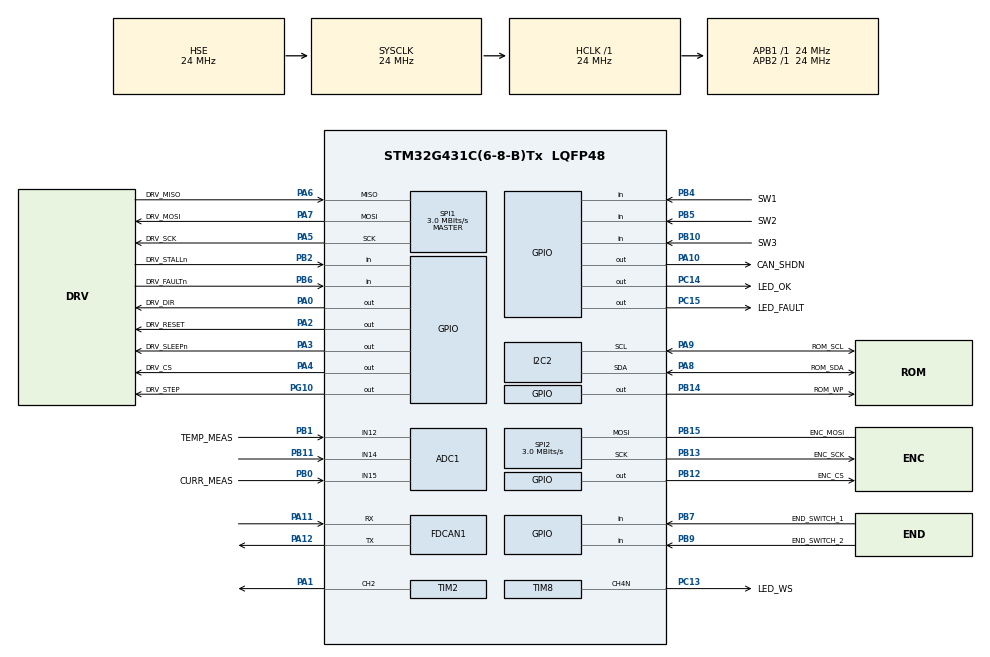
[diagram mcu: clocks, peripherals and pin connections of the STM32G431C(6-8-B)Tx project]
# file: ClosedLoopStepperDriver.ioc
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ADC1.Channel-0\#ChannelRegularConversion=ADC_CHANNEL_15
ADC1.ClockPrescaler=ADC_CLOCK_SYNC_PCLK_DIV4
ADC1.NbrOfConversionFlag=1
ADC1.OffsetNumber-0\#ChannelRegularConversion=ADC_OFFSET_NONE
ADC1.Rank-0\#ChannelRegularConversion=1
ADC1.SamplingTime-0\#ChannelRegularConversion=ADC_SAMPLETIME_2CYCLES_5
ADC1.master=1
Dma.Request0=TIM8_CH4
Dma.TIM8_CH4.0.Direction=DMA_MEMORY_TO_PERIPH
Dma.TIM8_CH4.0.EventEnable=DISABLE
Dma.TIM8_CH4.0.Instance=DMA1_Channel1
Dma.TIM8_CH4.0.MemDataAlignment=DMA_MDATAALIGN_BYTE
Dma.TIM8_CH4.0.MemInc=DMA_MINC_ENABLE
Dma.TIM8_CH4.0.Mode=DMA_NORMAL
Dma.TIM8_CH4.0.PeriphDataAlignment=DMA_PDATAALIGN_HALFWORD
Dma.TIM8_CH4.0.PeriphInc=DMA_PINC_DISABLE
Dma.TIM8_CH4.0.Polarity=HAL_DMAMUX_REQ_GEN_RISING
Dma.TIM8_CH4.0.Priority=DMA_PRIORITY_LOW
Dma.TIM8_CH4.0.RequestNumber=1
Dma.TIM8_CH4.0.SignalID=NONE
Dma.TIM8_CH4.0.SyncEnable=DISABLE
Dma.TIM8_CH4.0.SyncPolarity=HAL_DMAMUX_SYNC_NO_EVENT
Dma.TIM8_CH4.0.SyncRequestNumber=1
Dma.TIM8_CH4.0.SyncSignalID=NONE
FDCAN1.AutoRetransmission=ENABLE
FDCAN1.CalculateBaudRateNominal=500000
FDCAN1.CalculateTimeBitNominal=2000
FDCAN1.CalculateTimeQuantumNominal=41.666666666666664
FDCAN1.ClockDivider=FDCAN_CLOCK_DIV1
FDCAN1.DataSyncJumpWidth=1
FDCAN1.DataTimeSeg1=5
FDCAN1.DataTimeSeg2=4
FDCAN1.ExtFiltersNbr=1
FDCAN1.FrameFormat=FDCAN_FRAME_CLASSIC
FDCAN1.NominalPrescaler=1
FDCAN1.NominalSyncJumpWidth=12
FDCAN1.NominalTimeSeg1=35
FDCAN1.NominalTimeSeg2=12
FDCAN1.TransmitPause=ENABLE
FREERTOS.Tasks01=defaultTask,24,128,StartDefaultTask,Default,NULL,Dynamic,NULL,NULL;EncoderTask,40,128,StartEncoderTask,Default,NULL,Dynamic,NULL,NULL;StepperRegTask,16,128,StartStepperRegTask,Default,NULL,Dynamic,NULL,NULL;FeedbackTask,8,128,StartFeedbackTask,Default,NULL,Dynamic,NULL,NULL
FREERTOS.configUSE_NEWLIB_REENTRANT=1
I2C2.Timing=0x00805C87
Mcu.Family=STM32G4
Mcu.Name=STM32G431C(6-8-B)Tx
Mcu.Package=LQFP48
NVIC.DMA1_Channel1_IRQn=true\:5\:0\:false\:false\:true\:true\:false\:true\:true
NVIC.FDCAN1_IT0_IRQn=true\:5\:0\:false\:false\:true\:true\:true\:true\:true
NVIC.PriorityGroup=NVIC_PRIORITYGROUP_4
NVIC.TIM1_UP_TIM16_IRQn=true\:15\:0\:false\:false\:true\:false\:false\:true\:true
NVIC.TIM2_IRQn=true\:5\:0\:false\:false\:true\:true\:true\:true\:true
NVIC.TIM6_DAC_IRQn=true\:15\:0\:true\:false\:true\:true\:true\:true\:true
NVIC.TimeBase=TIM1_UP_TIM16_IRQn
NVIC.TimeBaseIP=TIM1
PA0.GPIO_Label=DRV_DIR
PA0.Signal=GPIO_Output
PA1.Signal=S_TIM2_CH2
PA10.GPIO_Label=CAN_SHDN
PA10.Signal=GPIO_Output
PA11.GPIO_Speed=GPIO_SPEED_FREQ_VERY_HIGH
PA11.Mode=FDCAN_Activate
PA11.Signal=FDCAN1_RX
PA12.GPIO_Speed=GPIO_SPEED_FREQ_VERY_HIGH
PA12.Mode=FDCAN_Activate
PA12.Signal=FDCAN1_TX
PA13.Mode=JTAG_4_pins
PA13.Signal=SYS_JTMS-SWDIO
PA14.Mode=JTAG_4_pins
PA14.Signal=SYS_JTCK-SWCLK
PA15.Mode=JTAG_4_pins
PA15.Signal=SYS_JTDI
PA2.GPIO_Label=DRV_RESET
PA2.Signal=GPIO_Output
PA3.GPIO_Label=DRV_SLEEPn
PA3.Signal=GPIO_Output
PA4.GPIO_Label=DRV_CS
PA4.Signal=GPIO_Output
PA5.GPIO_Label=DRV_SCK
PA5.Mode=Full_Duplex_Master
PA5.Signal=SPI1_SCK
PA6.GPIO_Label=DRV_MISO
PA6.Mode=Full_Duplex_Master
PA6.Signal=SPI1_MISO
PA7.GPIO_Label=DRV_MOSI
PA7.Mode=Full_Duplex_Master
PA7.Signal=SPI1_MOSI
PA8.GPIO_Label=ROM_SDA
PA8.GPIO_Pu=GPIO_PULLUP
PA8.Mode=I2C
PA8.Signal=I2C2_SDA
PA9.GPIO_Label=ROM_SCL
PA9.GPIO_Pu=GPIO_PULLUP
PA9.Mode=I2C
PA9.Signal=I2C2_SCL
PB0.GPIO_Label=CURR_MEAS
PB0.Mode=IN15-Single-Ended
PB0.Signal=ADC1_IN15
PB1.GPIO_Label=TEMP_MEAS
PB1.Mode=IN12-Single-Ended
PB1.Signal=ADC1_IN12
PB10.GPIO_Label=SW3
PB10.GPIO_PuPd=GPIO_PULLUP
PB10.Signal=GPIO_Input
PB11.Mode=IN14-Single-Ended
PB11.Signal=ADC1_IN14
PB12.GPIO_Label=ENC_CS
PB12.Signal=GPIO_Output
PB13.GPIO_Label=ENC_SCK
PB13.Mode=Simplex_Bidirectional_Master
PB13.Signal=SPI2_SCK
PB14.GPIO_Label=ROM_WP
PB14.GPIO_Speed=GPIO_SPEED_FREQ_MEDIUM
PB14.PinState=GPIO_PIN_SET
PB14.Signal=GPIO_Output
PB15.GPIO_Label=ENC_MOSI
PB15.Mode=Simplex_Bidirectional_Master
PB15.Signal=SPI2_MOSI
PB2.GPIO_Label=DRV_STALLn
PB2.Signal=GPIO_Input
PB3.Mode=JTAG_4_pins
PB3.Signal=SYS_JTDO-SWO
PB4.GPIO_Label=SW1
PB4.GPIO_PuPd=GPIO_PULLUP
PB4.Signal=GPIO_Input
PB5.GPIO_Label=SW2
PB5.GPIO_PuPd=GPIO_PULLUP
PB5.Signal=GPIO_Input
PB6.GPIO_Label=DRV_FAULTn
PB6.GPIO_PuPd=GPIO_NOPULL
PB6.Signal=GPIO_Input
PB7.GPIO_Label=END_SWITCH_1
PB7.GPIO_PuPd=GPIO_PULLUP
PB7.Signal=GPIO_Input
PB9.GPIO_Label=END_SWITCH_2
PB9.GPIO_PuPd=GPIO_PULLUP
PB9.Signal=GPIO_Input
PC13.GPIO_Label=LED_WS
PC13.Mode=PWM Generation4 CH4N
PC13.Signal=TIM8_CH4N
PC14-OSC32_IN.GPIO_Label=LED_OK
PC14-OSC32_IN.GPIO_ModeDefaultOutputPP=GPIO_MODE_OUTPUT_PP
PC14-OSC32_IN.GPIO_PuPd=GPIO_NOPULL
PC14-OSC32_IN.PinState=GPIO_PIN_SET
PC14-OSC32_IN.Signal=GPIO_Output
PC15-OSC32_OUT.GPIO_Label=LED_FAULT
PC15-OSC32_OUT.GPIO_ModeDefaultOutputPP=GPIO_MODE_OUTPUT_PP
PC15-OSC32_OUT.GPIO_PuPd=GPIO_NOPULL
PC15-OSC32_OUT.PinState=GPIO_PIN_SET
PC15-OSC32_OUT.Signal=GPIO_Output
PF0-OSC_IN.Mode=HSE-External-Oscillator
PF0-OSC_IN.Signal=RCC_OSC_IN
PF1-OSC_OUT.Mode=HSE-External-Oscillator
PF1-OSC_OUT.Signal=RCC_OSC_OUT
PG10-NRST.GPIO_Label=DRV_STEP
PG10-NRST.Signal=GPIO_Output
ProjectManager.HeapSize=0x200
ProjectManager.StackSize=0x400
ProjectManager.TargetToolchain=STM32CubeIDE
RCC.ADC12Freq_Value=24000000
RCC.AHBFreq_Value=24000000
RCC.APB1Freq_Value=24000000
RCC.APB1TimFreq_Value=24000000
RCC.APB2Freq_Value=24000000
RCC.APB2TimFreq_Value=24000000
RCC.CortexFreq_Value=24000000
RCC.EXTERNAL_CLOCK_VALUE=12288000
RCC.HCLKFreq_Value=24000000
RCC.HSE_VALUE=24000000
RCC.HSI48_VALUE=48000000
RCC.HSI_VALUE=16000000
RCC.LSE_VALUE=32768
RCC.PLLSourceVirtual=RCC_PLLSOURCE_HSE
RCC.SYSCLKFreq_VALUE=24000000
RCC.SYSCLKSource=RCC_SYSCLKSOURCE_HSE
RCC.USBFreq_Value=96000000
RCC.VCOOutputFreq_Value=192000000
SH.S_TIM2_CH2.0=TIM2_CH2,PWM Generation2 CH2
SPI1.BaudRatePrescaler=SPI_BAUDRATEPRESCALER_8
SPI1.CalculateBaudRate=3.0 MBits/s
SPI1.DataSize=SPI_DATASIZE_16BIT
SPI1.Direction=SPI_DIRECTION_2LINES
SPI1.Mode=SPI_MODE_MASTER
SPI1.VirtualType=VM_MASTER
SPI2.BaudRatePrescaler=SPI_BAUDRATEPRESCALER_8
SPI2.CLKPhase=SPI_PHASE_2EDGE
SPI2.CalculateBaudRate=3.0 MBits/s
SPI2.DataSize=SPI_DATASIZE_16BIT
SPI2.Direction=SPI_DIRECTION_1LINE
SPI2.Mode=SPI_MODE_MASTER
SPI2.VirtualType=VM_MASTER
TIM2.AutoReloadPreload=TIM_AUTORELOAD_PRELOAD_ENABLE
TIM2.Channel-PWM\ Generation2\ CH2=TIM_CHANNEL_2
TIM2.PeriodNoDither=4799
TIM2.Prescaler=0
TIM6.PeriodNoDither=2399
TIM6.TIM_MasterOutputTrigger=TIM_TRGO_RESET
TIM8.Channel-PWM\ Generation4\ CH4N=TIM_CHANNEL_4
TIM8.PeriodNoDither=30
VP_FREERTOS_VS_CMSIS_V2.Mode=CMSIS_V2
VP_SYS_VS_DBSignals.Mode=DisableDeadBatterySignals
VP_SYS_VS_tim1.Mode=TIM1
VP_TIM2_VS_ClockSourceINT.Mode=Internal
VP_TIM6_VS_ClockSourceINT.Mode=Enable_Timer
VP_TIM8_VS_ClockSourceINT.Mode=Internal
board=custom

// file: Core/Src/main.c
/* USER CODE BEGIN Header */
/**
  ******************************************************************************
  * @file           : main.c
  * @brief          : Main program body
  ******************************************************************************
  * @attention
  *
  * Copyright (c) 2024 STMicroelectronics.
  * All rights reserved.
  *
  * This software is licensed under terms that can be found in the LICENSE file
  * in the root directory of this software component.
  * If no LICENSE file comes with this software, it is provided AS-IS.
  *
  ******************************************************************************
  */
/* USER CODE END Header */
#include "main.h"
#include "cmsis_os.h"
#include "adc.h"
#include "dma.h"
#include "fdcan.h"
#include "i2c.h"
#include "spi.h"
#include "tim.h"
#include "gpio.h"

/* USER CODE BEGIN Includes */
#include "funkcje.h"
/* USER CODE END Includes */

void SystemClock_Config(void);
void MX_FREERTOS_Init(void);

int main(void)
{

  /* USER CODE BEGIN 1 */
  uint8_t CTRL_in[2]={0};
  uint8_t TORQUE_in[2]={0};
  const uint16_t data_ctrl=0xc21;//110000100001b|c21h
  const uint16_t data_trq=0x2f;// ograniczenie prądu wyjściowego
  const uint16_t msg_ctrl=(CTRL<<12)|data_ctrl;//MSB=0- zapis
  const uint16_t msg_trq=(TRQ<<12)|data_trq;

  CTRL_in[1]=msg_ctrl>>8;
  CTRL_in[0]=msg_ctrl&0xff;
  TORQUE_in[1]=msg_trq>>8;
  TORQUE_in[0]=msg_trq&0xff;
  /* USER CODE END 1 */

  /* MCU Configuration--------------------------------------------------------*/

  /* Reset of all peripherals, Initializes the Flash interface and the Systick. */
  HAL_Init();

  /* Configure the system clock */
  SystemClock_Config();

  /* Initialize all configured peripherals */
  MX_GPIO_Init();
  MX_DMA_Init();
  MX_FDCAN1_Init();
  MX_I2C2_Init();
  MX_SPI1_Init();
  MX_SPI2_Init();
  MX_TIM8_Init();
  MX_ADC1_Init();
  MX_TIM6_Init();
  MX_TIM2_Init();
  /* USER CODE BEGIN 2 */
  HAL_GPIO_WritePin(DRV_SLEEPn_GPIO_Port, DRV_SLEEPn_Pin, GPIO_PIN_SET);//wyjście z trybu uśpienia
  ResetDriver();
  HAL_GPIO_WritePin(DRV_DIR_GPIO_Port, DRV_DIR_Pin, GPIO_PIN_SET);//kierunek obrotów

  Write_Reg(CTRL_in);//transmisja danych do rejestru CTRL po SPI
  Write_Reg(TORQUE_in);//transmisja danych do rejestru TORQUE

  HAL_TIM_Base_Start_IT(&htim2);//start licznika sprzętowego tim2 generującego PWM na wejście STEP drivera
  HAL_TIM_PWM_Start(&htim2, TIM_CHANNEL_2);
  /* USER CODE END 2 */

  /* Init scheduler */
  osKernelInitialize();

  /* Call init function for freertos objects (in cmsis_os2.c) */
  MX_FREERTOS_Init();

  /* Start scheduler */
  osKernelStart();

  /* We should never get here as control is now taken by the scheduler */

  /* Infinite loop */
  while (1)
  {

  }
}

void SystemClock_Config(void)
{
  RCC_OscInitTypeDef RCC_OscInitStruct = {0};
  RCC_ClkInitTypeDef RCC_ClkInitStruct = {0};

  /** Configure the main internal regulator output voltage
  */
  HAL_PWREx_ControlVoltageScaling(PWR_REGULATOR_VOLTAGE_SCALE1);

  /** Initializes the RCC Oscillators according to the specified parameters
  * in the RCC_OscInitTypeDef structure.
  */
  RCC_OscInitStruct.OscillatorType = RCC_OSCILLATORTYPE_HSE;
  RCC_OscInitStruct.HSEState = RCC_HSE_ON;
  RCC_OscInitStruct.PLL.PLLState = RCC_PLL_NONE;
  if (HAL_RCC_OscConfig(&RCC_OscInitStruct) != HAL_OK)
  {
    Error_Handler();
  }

  /** Initializes the CPU, AHB and APB buses clocks
  */
  RCC_ClkInitStruct.ClockType = RCC_CLOCKTYPE_HCLK|RCC_CLOCKTYPE_SYSCLK
                              |RCC_CLOCKTYPE_PCLK1|RCC_CLOCKTYPE_PCLK2;
  RCC_ClkInitStruct.SYSCLKSource = RCC_SYSCLKSOURCE_HSE;
  RCC_ClkInitStruct.AHBCLKDivider = RCC_SYSCLK_DIV1;
  RCC_ClkInitStruct.APB1CLKDivider = RCC_HCLK_DIV1;
  RCC_ClkInitStruct.APB2CLKDivider = RCC_HCLK_DIV1;

  if (HAL_RCC_ClockConfig(&RCC_ClkInitStruct, FLASH_LATENCY_0) != HAL_OK)
  {
    Error_Handler();
  }
}

void HAL_TIM_PeriodElapsedCallback(TIM_HandleTypeDef *htim)
{
  if (htim->Instance == TIM1) {
    HAL_IncTick();
  }
}

void Error_Handler(void)
{
  __disable_irq();
  while (1)
  {
  }
}

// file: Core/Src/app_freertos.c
/* USER CODE BEGIN Header */
/**
  ******************************************************************************
  * File Name          : app_freertos.c
  * Description        : Code for freertos applications
  ******************************************************************************
  * @attention
  *
  * Copyright (c) 2024 STMicroelectronics.
  * All rights reserved.
  *
  * This software is licensed under terms that can be found in the LICENSE file
  * in the root directory of this software component.
  * If no LICENSE file comes with this software, it is provided AS-IS.
  *
  ******************************************************************************
  */
/* USER CODE END Header */

#include "FreeRTOS.h"
#include "task.h"
#include "main.h"
#include "cmsis_os.h"

/* Definitions for defaultTask */
osThreadId_t defaultTaskHandle;
const osThreadAttr_t defaultTask_attributes = {
  .name = "defaultTask",
  .priority = (osPriority_t) osPriorityNormal,
  .stack_size = 128 * 4
};
/* Definitions for EncoderTask */
osThreadId_t EncoderTaskHandle;
const osThreadAttr_t EncoderTask_attributes = {
  .name = "EncoderTask",
  .priority = (osPriority_t) osPriorityHigh,
  .stack_size = 128 * 4
};
/* Definitions for StepperRegTask */
osThreadId_t StepperRegTaskHandle;
const osThreadAttr_t StepperRegTask_attributes = {
  .name = "StepperRegTask",
  .priority = (osPriority_t) osPriorityBelowNormal,
  .stack_size = 128 * 4
};
/* Definitions for FeedbackTask */
osThreadId_t FeedbackTaskHandle;
const osThreadAttr_t FeedbackTask_attributes = {
  .name = "FeedbackTask",
  .priority = (osPriority_t) osPriorityLow,
  .stack_size = 128 * 4
};

void StartDefaultTask(void *argument);
void StartEncoderTask(void *argument);
void StartStepperRegTask(void *argument);
void StartFeedbackTask(void *argument);

void MX_FREERTOS_Init(void); /* (MISRA C 2004 rule 8.1) */

void MX_FREERTOS_Init(void) {

  /* Create the thread(s) */
  /* creation of defaultTask */
  defaultTaskHandle = osThreadNew(StartDefaultTask, NULL, &defaultTask_attributes);

  /* creation of EncoderTask */
  EncoderTaskHandle = osThreadNew(StartEncoderTask, NULL, &EncoderTask_attributes);

  /* creation of StepperRegTask */
  StepperRegTaskHandle = osThreadNew(StartStepperRegTask, NULL, &StepperRegTask_attributes);

  /* creation of FeedbackTask */
  FeedbackTaskHandle = osThreadNew(StartFeedbackTask, NULL, &FeedbackTask_attributes);

}

void StartDefaultTask(void *argument)
{
  for(;;)
  {
    osDelay(1);
  }
}

void StartEncoderTask(void *argument)
{
  for(;;)
  {
    osDelay(1);
  }
}

void StartStepperRegTask(void *argument)
{
  for(;;)
  {
    osDelay(1);
  }
}

void StartFeedbackTask(void *argument)
{
  for(;;)
  {
    osDelay(1);
  }
}
